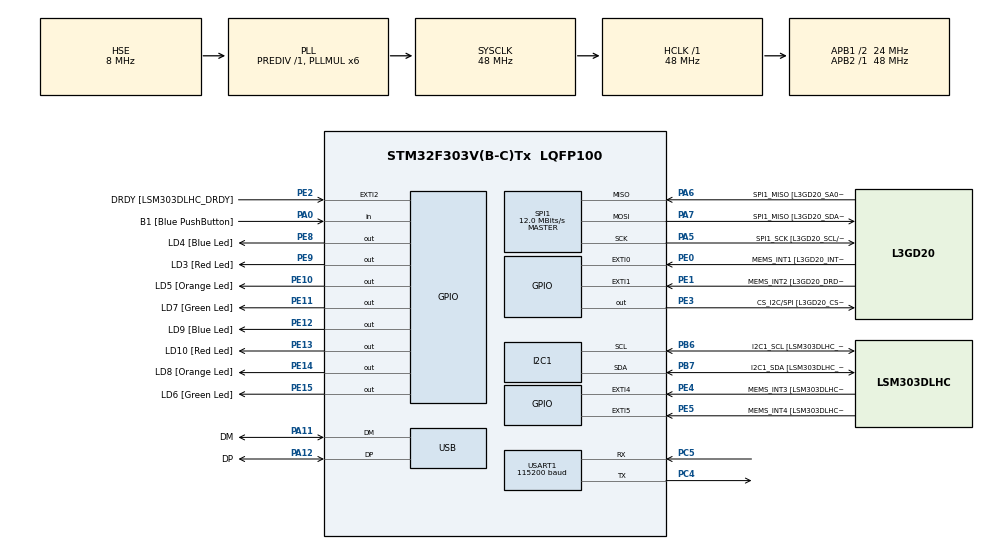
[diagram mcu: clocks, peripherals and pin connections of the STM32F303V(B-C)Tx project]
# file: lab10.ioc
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I2C1.Timing=0x2000090E
I2C1.Timing-I2C=0x2000090E
Mcu.Family=STM32F3
Mcu.Name=STM32F303V(B-C)Tx
Mcu.Package=LQFP100
NVIC.PriorityGroup=NVIC_PRIORITYGROUP_0
PA0.GPIO_Label=B1 [Blue PushButton]
PA0.Signal=GPIO_Input
PA11.GPIO_Label=DM
PA11.Mode=Device
PA11.Signal=USB_DM
PA12.GPIO_Label=DP
PA12.Mode=Device
PA12.Signal=USB_DP
PA13.GPIO_Label=SWDIO
PA13.Mode=Serial_Wire
PA13.Signal=SYS_JTMS-SWDIO
PA14.GPIO_Label=SWCLK
PA14.Mode=Serial_Wire
PA14.Signal=SYS_JTCK-SWCLK
PA5.GPIO_Label=SPI1_SCK [L3GD20_SCL/SPC]
PA5.Mode=Full_Duplex_Master
PA5.Signal=SPI1_SCK
PA6.GPIO_Label=SPI1_MISO [L3GD20_SA0/SDO]
PA6.Mode=Full_Duplex_Master
PA6.Signal=SPI1_MISO
PA7.GPIO_Label=SPI1_MISO [L3GD20_SDA/SDI/SDO]
PA7.Mode=Full_Duplex_Master
PA7.Signal=SPI1_MOSI
PB3.GPIO_Label=SWO
PB3.Signal=SYS_JTDO-TRACESWO
PB6.GPIO_Label=I2C1_SCL [LSM303DLHC_SCL]
PB6.GPIO_Pu=GPIO_PULLUP
PB6.Mode=I2C
PB6.Signal=I2C1_SCL
PB7.GPIO_Label=I2C1_SDA [LSM303DLHC_SDA]
PB7.GPIO_Pu=GPIO_PULLUP
PB7.Mode=I2C
PB7.Signal=I2C1_SDA
PC14-OSC32_IN.GPIO_Label=OSC32_IN
PC14-OSC32_IN.Signal=RCC_OSC32_IN
PC15-OSC32_OUT.GPIO_Label=OSC32_OUT
PC15-OSC32_OUT.Signal=RCC_OSC32_OUT
PC4.Mode=Asynchronous
PC4.Signal=USART1_TX
PC5.Mode=Asynchronous
PC5.Signal=USART1_RX
PE0.GPIO_Label=MEMS_INT1 [L3GD20_INT1]
PE0.GPIO_ModeDefaultEXTI=GPIO_MODE_EVT_RISING
PE0.Signal=GPXTI0
PE1.GPIO_Label=MEMS_INT2 [L3GD20_DRDY/INT2]
PE1.GPIO_ModeDefaultEXTI=GPIO_MODE_EVT_RISING
PE1.Signal=GPXTI1
PE10.GPIO_Label=LD5 [Orange Led]
PE10.Signal=GPIO_Output
PE11.GPIO_Label=LD7 [Green Led]
PE11.Signal=GPIO_Output
PE12.GPIO_Label=LD9 [Blue Led]
PE12.Signal=GPIO_Output
PE13.GPIO_Label=LD10 [Red Led]
PE13.Signal=GPIO_Output
PE14.GPIO_Label=LD8 [Orange Led]
PE14.Signal=GPIO_Output
PE15.GPIO_Label=LD6 [Green Led]
PE15.Signal=GPIO_Output
PE2.GPIO_Label=DRDY [LSM303DLHC_DRDY]
PE2.GPIO_ModeDefaultEXTI=GPIO_MODE_EVT_RISING
PE2.Signal=GPXTI2
PE3.GPIO_Label=CS_I2C/SPI [L3GD20_CS_I2C/SPI]
PE3.Signal=GPIO_Output
PE4.GPIO_Label=MEMS_INT3 [LSM303DLHC_INT1]
PE4.GPIO_ModeDefaultEXTI=GPIO_MODE_EVT_RISING
PE4.Signal=GPXTI4
PE5.GPIO_Label=MEMS_INT4 [LSM303DLHC_INT2]
PE5.GPIO_ModeDefaultEXTI=GPIO_MODE_EVT_RISING
PE5.Signal=GPXTI5
PE8.GPIO_Label=LD4 [Blue Led]
PE8.Signal=GPIO_Output
PE9.GPIO_Label=LD3 [Red Led]
PE9.Signal=GPIO_Output
PF0-OSC_IN.GPIO_Label=OSC_IN
PF0-OSC_IN.Mode=HSE-External-Clock-Source
PF0-OSC_IN.Signal=RCC_OSC_IN
PF1-OSC_OUT.GPIO_Label=OSC_OUT
PF1-OSC_OUT.Signal=RCC_OSC_OUT
ProjectManager.HeapSize=0x200
ProjectManager.StackSize=0x400
ProjectManager.TargetToolchain=CMake
RCC.AHBFreq_Value=48000000
RCC.APB1CLKDivider=RCC_HCLK_DIV2
RCC.APB1Freq_Value=24000000
RCC.APB1TimFreq_Value=48000000
RCC.APB2Freq_Value=48000000
RCC.APB2TimFreq_Value=48000000
RCC.CortexFreq_Value=48000000
RCC.HCLKFreq_Value=48000000
RCC.HSE_VALUE=8000000
RCC.HSI_VALUE=8000000
RCC.LSE_VALUE=32768
RCC.PLLMUL=RCC_PLL_MUL6
RCC.SYSCLKFreq_VALUE=48000000
RCC.SYSCLKSourceVirtual=RCC_SYSCLKSOURCE_PLLCLK
RCC.USBFreq_Value=48000000
SPI1.BaudRatePrescaler=SPI_BAUDRATEPRESCALER_4
SPI1.BaudRatePrescaler-Full_Duplex_Master=SPI_BAUDRATEPRESCALER_2
SPI1.CalculateBaudRate=12.0 MBits/s
SPI1.CalculateBaudRate-Full_Duplex_Master=24.0 MBits/s
SPI1.Direction=SPI_DIRECTION_2LINES
SPI1.Mode=SPI_MODE_MASTER
SPI1.Mode-Full_Duplex_Master=SPI_MODE_MASTER
SPI1.VirtualType=VM_MASTER
USART1.BaudRate=115200
USART1.VirtualMode-Asynchronous=VM_ASYNC
board=STM32F3DISCOVERY

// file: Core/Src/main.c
/* USER CODE BEGIN Header */
/**
  ******************************************************************************
  * @file           : main.c
  * @brief          : Main program body
  ******************************************************************************
  * @attention
  *
  * Copyright (c) 2026 STMicroelectronics.
  * All rights reserved.
  *
  * This software is licensed under terms that can be found in the LICENSE file
  * in the root directory of this software component.
  * If no LICENSE file comes with this software, it is provided AS-IS.
  *
  ******************************************************************************
  */
/* USER CODE END Header */
#include "main.h"

/* USER CODE BEGIN Includes */
#include <stdio.h>
#include <stdlib.h>
#include <string.h>
#include <stdarg.h>
#include <stdint.h>
#include <stddef.h>
/* USER CODE END Includes */

/* USER CODE BEGIN PD */
#define N 10
#define HEAP_START_ADDR ((uint8_t*) 0x20001000)
#define HEAP_SIZE       (4 * 1024)             // 4 KB heap
#define BLOCK_SIZE      16                     // 16-byte blocks
#define BLOCK_COUNT     (HEAP_SIZE / BLOCK_SIZE)
/* USER CODE END PD */

I2C_HandleTypeDef hi2c1;

SPI_HandleTypeDef hspi1;

UART_HandleTypeDef huart1;

PCD_HandleTypeDef hpcd_USB_FS;

/* USER CODE BEGIN PV */
static uint8_t block_map[BLOCK_COUNT];
static uint8_t *const heap_base = HEAP_START_ADDR;
/* USER CODE END PV */

void SystemClock_Config(void);
static void MX_GPIO_Init(void);
static void MX_I2C1_Init(void);
static void MX_SPI1_Init(void);
static void MX_USART1_UART_Init(void);
static void MX_USB_PCD_Init(void);
/* USER CODE BEGIN PFP */
void myprint(const char *format, ...);

// Task 2 Prototypes
void heap_init(void);
void* heap_alloc(size_t size);
void heap_free(void* ptr);
void task2_test(void);

/* Task 1 Prototypes
int* allocate_with_malloc(size_t n);
int* allocate_with_calloc(size_t n);
void init_malloc_array(int *arr, size_t n);
void init_calloc_array(int *arr, size_t n);
void print_array(const char *title, int *arr, size_t n);
void free_and_null(int **ptr);
void dynamic_memory_check(void);
*/
/* USER CODE END PFP */

/* USER CODE BEGIN 0 */
void myprint(const char *format, ...) {
    char buffer[128];
    va_list args;
    va_start(args, format);
    vsnprintf(buffer, sizeof(buffer), format, args);
    va_end(args);

    char fixed[128];
    int j = 0;
    for (int i = 0; buffer[i] != '\0'; i++) {
        if (buffer[i] == '\n') {
            fixed[j++] = '\r';
        }
        fixed[j++] = buffer[i];
    }
    fixed[j] = '\0';

    HAL_UART_Transmit(&huart1, (uint8_t*) fixed, strlen(fixed), HAL_MAX_DELAY);
}

// ==========================================
// TASK 2: Custom Heap Driver Functions
// ==========================================
static size_t get_required_blocks(size_t size) {
    if (size == 0) return 0;
    return (size + BLOCK_SIZE - 1) / BLOCK_SIZE;
}

void heap_init(void) {
    for (size_t i = 0; i < BLOCK_COUNT; i++) {
        block_map[i] = 0;
    }
}

void* heap_alloc(size_t size) {
    if (size == 0 || size > HEAP_SIZE) return NULL;

    size_t needed_blocks = get_required_blocks(size);
    size_t free_run = 0;
    size_t start_index = 0;

    for (size_t i = 0; i < BLOCK_COUNT; i++) {
        if (block_map[i] == 0) {
            if (free_run == 0) {
                start_index = i;
            }
            free_run++;

            if (free_run == needed_blocks) {
                for (size_t j = start_index; j < start_index + needed_blocks; j++) {
                    block_map[j] = 1;
                }
                return (void*)(heap_base + start_index * BLOCK_SIZE);
            }
        } else {
            free_run = 0;
        }
    }
    return NULL;
}

void heap_free(void* ptr) {
    if (ptr == NULL) return;

    uintptr_t addr = (uintptr_t)ptr;
    uintptr_t heap_start = (uintptr_t)HEAP_START_ADDR;
    uintptr_t heap_end = heap_start + HEAP_SIZE;

    if (addr < heap_start || addr >= heap_end) return;
    if ((addr - heap_start) % BLOCK_SIZE != 0) return;

    size_t index = (addr - heap_start) / BLOCK_SIZE;
    while (index < BLOCK_COUNT && block_map[index] == 1) {
        block_map[index] = 0;
        index++;
    }
}

void task2_test(void) {
    char *block1;
    char *block2;

    myprint("\r\n=== Custom Heap Driver (Direct SRAM) ===\r\n");

    heap_init();

    block1 = (char *)heap_alloc(32);
    block2 = (char *)heap_alloc(48);

    if (block1 == NULL || block2 == NULL) {
        myprint("Allocation failed\r\n");
        return;
    }

    strcpy(block1, "Data in Block 1");
    strcpy(block2, "Text from Block 2");

    myprint("%s\r\n", block1);
    myprint("%s\r\n", block2);

    heap_free(block1);
    heap_free(block2);

    block1 = NULL;
    block2 = NULL;

    myprint("Blocks freed.\r\n");
}

/*
   TASK 1: Standard Malloc/Calloc

int* allocate_with_malloc(size_t n) {
    int *ptr = (int*)malloc(n * sizeof(int));
    if (ptr == NULL) { myprint("malloc failed!\r\n"); }
    return ptr;
}

int* allocate_with_calloc(size_t n) {
    int *ptr = (int*)calloc(n, sizeof(int));
    if (ptr == NULL) { myprint("calloc failed!\r\n"); }
    return ptr;
}

void init_malloc_array(int *arr, size_t n) {
    for (size_t i = 0; i < n; i++) { arr[i] = (int)(i * 2); }
}

void init_calloc_array(int *arr, size_t n) {
    for (size_t i = 0; i < n; i++) { arr[i] = (int)(i + 1); }
}

void print_array(const char *title, int *arr, size_t n) {
    myprint("%s\r\n", title);
    for (size_t i = 0; i < n; i++) { myprint("arr[%d] = %d\r\n", (int)i, arr[i]); }
    myprint("\r\n");
}

void free_and_null(int **ptr) {
    if (ptr != NULL && *ptr != NULL) { free(*ptr); *ptr = NULL; }
}

void dynamic_memory_check(void) {
    int *malloc_arr = NULL;
    int *calloc_arr = NULL;
    myprint("=== Task 1: Dynamic Memory Allocation ===\r\n");
    malloc_arr = allocate_with_malloc(N);
    if (malloc_arr == NULL) return;
    calloc_arr = allocate_with_calloc(N);
    if (calloc_arr == NULL) { free_and_null(&malloc_arr); return; }
    print_array("calloc array before initialization:", calloc_arr, N);
    init_malloc_array(malloc_arr, N);
    init_calloc_array(calloc_arr, N);
    print_array("malloc array:", malloc_arr, N);
    print_array("calloc array after initialization:", calloc_arr, N);
    free_and_null(&malloc_arr);
    free_and_null(&calloc_arr);
    myprint("Memory successfully freed and pointers cleared.\r\n");
}
*/
/* USER CODE END 0 */

int main(void)
{

  /* MCU Configuration--------------------------------------------------------*/

  /* Reset of all peripherals, Initializes the Flash interface and the Systick. */
  HAL_Init();

  /* Configure the system clock */
  SystemClock_Config();

  /* Initialize all configured peripherals */
  MX_GPIO_Init();
  MX_I2C1_Init();
  MX_SPI1_Init();
  MX_USART1_UART_Init();
  MX_USB_PCD_Init();

  /* Infinite loop */
  /* USER CODE BEGIN WHILE */
  while (1)
  {
    // Running Task 2 inside the loop
    task2_test();
    HAL_Delay(2000);

    // TASK1
    // dynamic_memory_check();
    // HAL_Delay(2000);
    /* USER CODE END WHILE */

  }
}

void SystemClock_Config(void)
{
  RCC_OscInitTypeDef RCC_OscInitStruct = {0};
  RCC_ClkInitTypeDef RCC_ClkInitStruct = {0};
  RCC_PeriphCLKInitTypeDef PeriphClkInit = {0};

  /** Initializes the RCC Oscillators according to the specified parameters
  * in the RCC_OscInitTypeDef structure.
  */
  RCC_OscInitStruct.OscillatorType = RCC_OSCILLATORTYPE_HSI|RCC_OSCILLATORTYPE_HSE;
  RCC_OscInitStruct.HSEState = RCC_HSE_BYPASS;
  RCC_OscInitStruct.HSEPredivValue = RCC_HSE_PREDIV_DIV1;
  RCC_OscInitStruct.HSIState = RCC_HSI_ON;
  RCC_OscInitStruct.HSICalibrationValue = RCC_HSICALIBRATION_DEFAULT;
  RCC_OscInitStruct.PLL.PLLState = RCC_PLL_ON;
  RCC_OscInitStruct.PLL.PLLSource = RCC_PLLSOURCE_HSE;
  RCC_OscInitStruct.PLL.PLLMUL = RCC_PLL_MUL6;
  if (HAL_RCC_OscConfig(&RCC_OscInitStruct) != HAL_OK)
  {
    Error_Handler();
  }

  /** Initializes the CPU, AHB and APB buses clocks
  */
  RCC_ClkInitStruct.ClockType = RCC_CLOCKTYPE_HCLK|RCC_CLOCKTYPE_SYSCLK
                              |RCC_CLOCKTYPE_PCLK1|RCC_CLOCKTYPE_PCLK2;
  RCC_ClkInitStruct.SYSCLKSource = RCC_SYSCLKSOURCE_PLLCLK;
  RCC_ClkInitStruct.AHBCLKDivider = RCC_SYSCLK_DIV1;
  RCC_ClkInitStruct.APB1CLKDivider = RCC_HCLK_DIV2;
  RCC_ClkInitStruct.APB2CLKDivider = RCC_HCLK_DIV1;

  if (HAL_RCC_ClockConfig(&RCC_ClkInitStruct, FLASH_LATENCY_1) != HAL_OK)
  {
    Error_Handler();
  }
  PeriphClkInit.PeriphClockSelection = RCC_PERIPHCLK_USB|RCC_PERIPHCLK_USART1
                              |RCC_PERIPHCLK_I2C1;
  PeriphClkInit.Usart1ClockSelection = RCC_USART1CLKSOURCE_PCLK2;
  PeriphClkInit.I2c1ClockSelection = RCC_I2C1CLKSOURCE_HSI;
  PeriphClkInit.USBClockSelection = RCC_USBCLKSOURCE_PLL;
  if (HAL_RCCEx_PeriphCLKConfig(&PeriphClkInit) != HAL_OK)
  {
    Error_Handler();
  }
}

static void MX_I2C1_Init(void)
{

  hi2c1.Instance = I2C1;
  hi2c1.Init.Timing = 0x2000090E;
  hi2c1.Init.OwnAddress1 = 0;
  hi2c1.Init.AddressingMode = I2C_ADDRESSINGMODE_7BIT;
  hi2c1.Init.DualAddressMode = I2C_DUALADDRESS_DISABLE;
  hi2c1.Init.OwnAddress2 = 0;
  hi2c1.Init.OwnAddress2Masks = I2C_OA2_NOMASK;
  hi2c1.Init.GeneralCallMode = I2C_GENERALCALL_DISABLE;
  hi2c1.Init.NoStretchMode = I2C_NOSTRETCH_DISABLE;
  if (HAL_I2C_Init(&hi2c1) != HAL_OK)
  {
    Error_Handler();
  }

  /** Configure Analogue filter
  */
  if (HAL_I2CEx_ConfigAnalogFilter(&hi2c1, I2C_ANALOGFILTER_ENABLE) != HAL_OK)
  {
    Error_Handler();
  }

  /** Configure Digital filter
  */
  if (HAL_I2CEx_ConfigDigitalFilter(&hi2c1, 0) != HAL_OK)
  {
    Error_Handler();
  }

}

static void MX_SPI1_Init(void)
{

  /* SPI1 parameter configuration*/
  hspi1.Instance = SPI1;
  hspi1.Init.Mode = SPI_MODE_MASTER;
  hspi1.Init.Direction = SPI_DIRECTION_2LINES;
  hspi1.Init.DataSize = SPI_DATASIZE_4BIT;
  hspi1.Init.CLKPolarity = SPI_POLARITY_LOW;
  hspi1.Init.CLKPhase = SPI_PHASE_1EDGE;
  hspi1.Init.NSS = SPI_NSS_SOFT;
  hspi1.Init.BaudRatePrescaler = SPI_BAUDRATEPRESCALER_4;
  hspi1.Init.FirstBit = SPI_FIRSTBIT_MSB;
  hspi1.Init.TIMode = SPI_TIMODE_DISABLE;
  hspi1.Init.CRCCalculation = SPI_CRCCALCULATION_DISABLE;
  hspi1.Init.CRCPolynomial = 7;
  hspi1.Init.CRCLength = SPI_CRC_LENGTH_DATASIZE;
  hspi1.Init.NSSPMode = SPI_NSS_PULSE_ENABLE;
  if (HAL_SPI_Init(&hspi1) != HAL_OK)
  {
    Error_Handler();
  }

}

static void MX_USART1_UART_Init(void)
{

  huart1.Instance = USART1;
  huart1.Init.BaudRate = 115200;
  huart1.Init.WordLength = UART_WORDLENGTH_8B;
  huart1.Init.StopBits = UART_STOPBITS_1;
  huart1.Init.Parity = UART_PARITY_NONE;
  huart1.Init.Mode = UART_MODE_TX_RX;
  huart1.Init.HwFlowCtl = UART_HWCONTROL_NONE;
  huart1.Init.OverSampling = UART_OVERSAMPLING_16;
  huart1.Init.OneBitSampling = UART_ONE_BIT_SAMPLE_DISABLE;
  huart1.AdvancedInit.AdvFeatureInit = UART_ADVFEATURE_NO_INIT;
  if (HAL_UART_Init(&huart1) != HAL_OK)
  {
    Error_Handler();
  }

}

static void MX_USB_PCD_Init(void)
{

  hpcd_USB_FS.Instance = USB;
  hpcd_USB_FS.Init.dev_endpoints = 8;
  hpcd_USB_FS.Init.speed = PCD_SPEED_FULL;
  hpcd_USB_FS.Init.phy_itface = PCD_PHY_EMBEDDED;
  hpcd_USB_FS.Init.low_power_enable = DISABLE;
  hpcd_USB_FS.Init.battery_charging_enable = DISABLE;
  if (HAL_PCD_Init(&hpcd_USB_FS) != HAL_OK)
  {
    Error_Handler();
  }

}

static void MX_GPIO_Init(void)
{
  GPIO_InitTypeDef GPIO_InitStruct = {0};

  /* GPIO Ports Clock Enable */
  __HAL_RCC_GPIOE_CLK_ENABLE();
  __HAL_RCC_GPIOC_CLK_ENABLE();
  __HAL_RCC_GPIOF_CLK_ENABLE();
  __HAL_RCC_GPIOA_CLK_ENABLE();
  __HAL_RCC_GPIOB_CLK_ENABLE();

  /*Configure GPIO pin Output Level */
  HAL_GPIO_WritePin(GPIOE, CS_I2C_SPI_Pin|LD4_Pin|LD3_Pin|LD5_Pin
                          |LD7_Pin|LD9_Pin|LD10_Pin|LD8_Pin
                          |LD6_Pin, GPIO_PIN_RESET);

  /*Configure GPIO pins : DRDY_Pin MEMS_INT3_Pin MEMS_INT4_Pin MEMS_INT1_Pin
                           MEMS_INT2_Pin */
  GPIO_InitStruct.Pin = DRDY_Pin|MEMS_INT3_Pin|MEMS_INT4_Pin|MEMS_INT1_Pin
                          |MEMS_INT2_Pin;
  GPIO_InitStruct.Mode = GPIO_MODE_EVT_RISING;
  GPIO_InitStruct.Pull = GPIO_NOPULL;
  HAL_GPIO_Init(GPIOE, &GPIO_InitStruct);

  /*Configure GPIO pins : CS_I2C_SPI_Pin LD4_Pin LD3_Pin LD5_Pin
                           LD7_Pin LD9_Pin LD10_Pin LD8_Pin
                           LD6_Pin */
  GPIO_InitStruct.Pin = CS_I2C_SPI_Pin|LD4_Pin|LD3_Pin|LD5_Pin
                          |LD7_Pin|LD9_Pin|LD10_Pin|LD8_Pin
                          |LD6_Pin;
  GPIO_InitStruct.Mode = GPIO_MODE_OUTPUT_PP;
  GPIO_InitStruct.Pull = GPIO_NOPULL;
  GPIO_InitStruct.Speed = GPIO_SPEED_FREQ_LOW;
  HAL_GPIO_Init(GPIOE, &GPIO_InitStruct);

  /*Configure GPIO pin : B1_Pin */
  GPIO_InitStruct.Pin = B1_Pin;
  GPIO_InitStruct.Mode = GPIO_MODE_INPUT;
  GPIO_InitStruct.Pull = GPIO_NOPULL;
  HAL_GPIO_Init(B1_GPIO_Port, &GPIO_InitStruct);

}

void Error_Handler(void)
{
  __disable_irq();
  while (1)
  {
  }
}
